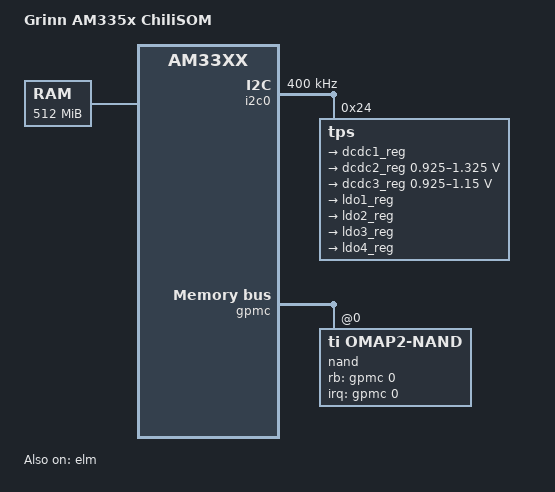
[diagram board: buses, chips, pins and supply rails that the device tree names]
// SPDX-License-Identifier: GPL-2.0-only
/*
 * Copyright (C) 2015 Jablotron s.r.o. -- https://www.jablotron.com/
 * Author: Rostislav Lisovy <lisovy@jablotron.cz>
 */
#include "am33xx.dtsi"
#include <dt-bindings/interrupt-controller/irq.h>

/ {
	model = "Grinn AM335x ChiliSOM";
	compatible = "grinn,am335x-chilisom", "ti,am33xx";

	cpus {
		cpu@0 {
			cpu0-supply = <&dcdc2_reg>;
		};
	};

	memory@80000000 {
		device_type = "memory";
		reg = <0x80000000 0x20000000>; /* 512 MB */
	};
};

&am33xx_pinmux {
	pinctrl-names = "default";

	i2c0_pins: pinmux_i2c0_pins {
		pinctrl-single,pins = <
			AM33XX_PADCONF(AM335X_PIN_I2C0_SDA, PIN_INPUT_PULLUP, MUX_MODE0)
			AM33XX_PADCONF(AM335X_PIN_I2C0_SCL, PIN_INPUT_PULLUP, MUX_MODE0)
		>;
	};

	nandflash_pins: nandflash_pins {
		pinctrl-single,pins = <
			AM33XX_PADCONF(AM335X_PIN_GPMC_AD0, PIN_INPUT_PULLDOWN, MUX_MODE0)
			AM33XX_PADCONF(AM335X_PIN_GPMC_AD1, PIN_INPUT_PULLDOWN, MUX_MODE0)
			AM33XX_PADCONF(AM335X_PIN_GPMC_AD2, PIN_INPUT_PULLDOWN, MUX_MODE0)
			AM33XX_PADCONF(AM335X_PIN_GPMC_AD3, PIN_INPUT_PULLDOWN, MUX_MODE0)
			AM33XX_PADCONF(AM335X_PIN_GPMC_AD4, PIN_INPUT_PULLDOWN, MUX_MODE0)
			AM33XX_PADCONF(AM335X_PIN_GPMC_AD5, PIN_INPUT_PULLDOWN, MUX_MODE0)
			AM33XX_PADCONF(AM335X_PIN_GPMC_AD6, PIN_INPUT_PULLDOWN, MUX_MODE0)
			AM33XX_PADCONF(AM335X_PIN_GPMC_AD7, PIN_INPUT_PULLDOWN, MUX_MODE0)

			AM33XX_PADCONF(AM335X_PIN_GPMC_WAIT0, PIN_INPUT_PULLUP, MUX_MODE0)
			AM33XX_PADCONF(AM335X_PIN_GPMC_CSN0, PIN_OUTPUT_PULLUP, MUX_MODE0)
			AM33XX_PADCONF(AM335X_PIN_GPMC_ADVN_ALE, PIN_OUTPUT_PULLUP, MUX_MODE0)
			AM33XX_PADCONF(AM335X_PIN_GPMC_OEN_REN, PIN_OUTPUT_PULLUP, MUX_MODE0)
			AM33XX_PADCONF(AM335X_PIN_GPMC_WEN, PIN_OUTPUT_PULLUP, MUX_MODE0)
			AM33XX_PADCONF(AM335X_PIN_GPMC_BEN0_CLE, PIN_OUTPUT_PULLUP, MUX_MODE0)
		>;
	};
};

&i2c0 {
	pinctrl-names = "default";
	pinctrl-0 = <&i2c0_pins>;

	status = "okay";
	clock-frequency = <400000>;

	tps: tps@24 {
		reg = <0x24>;
	};

};

/include/ "tps65217.dtsi"

&tps {
	regulators {
		dcdc1_reg: regulator@0 {
			regulator-name = "vdds_dpr";
			regulator-always-on;
		};

		dcdc2_reg: regulator@1 {
			/* VDD_MPU voltage limits 0.95V - 1.26V with +/-4% tolerance */
			regulator-name = "vdd_mpu";
			regulator-min-microvolt = <925000>;
			regulator-max-microvolt = <1325000>;
			regulator-boot-on;
			regulator-always-on;
		};

		dcdc3_reg: regulator@2 {
			/* VDD_CORE voltage limits 0.95V - 1.1V with +/-4% tolerance */
			regulator-name = "vdd_core";
			regulator-min-microvolt = <925000>;
			regulator-max-microvolt = <1150000>;
			regulator-boot-on;
			regulator-always-on;
		};

		ldo1_reg: regulator@3 {
			regulator-name = "vio,vrtc,vdds";
			regulator-boot-on;
			regulator-always-on;
		};

		ldo2_reg: regulator@4 {
			regulator-name = "vdd_3v3aux";
			regulator-boot-on;
			regulator-always-on;
		};

		ldo3_reg: regulator@5 {
			regulator-name = "vdd_1v8";
			regulator-boot-on;
			regulator-always-on;
		};

		ldo4_reg: regulator@6 {
			regulator-name = "vdd_3v3d";
			regulator-boot-on;
			regulator-always-on;
		};
	};
};

&rtc {
	system-power-controller;

	pinctrl-0 = <&ext_wakeup>;
	pinctrl-names = "default";

	ext_wakeup: ext-wakeup {
		pins = "ext_wakeup0";
		input-enable;
	};
};

/* NAND Flash */
&elm {
	status = "okay";
};

&gpmc {
	status = "okay";
	pinctrl-names = "default";
	pinctrl-0 = <&nandflash_pins>;
	ranges = <0 0 0x08000000 0x01000000>; /* CS0 0 @addr 0x08000000, size 0x01000000 */
	nand@0,0 {
		compatible = "ti,omap2-nand";
		reg = <0 0 4>;	/* CS0, offset 0, IO size 4 */
		interrupt-parent = <&gpmc>;
		interrupts = <0 IRQ_TYPE_NONE>, /* fifoevent */
			     <1 IRQ_TYPE_NONE>;	/* termcount */
		rb-gpios = <&gpmc 0 GPIO_ACTIVE_HIGH>; /* gpmc_wait0 */
		ti,nand-ecc-opt = "bch8";
		ti,elm-id = <&elm>;
		nand-bus-width = <8>;
		gpmc,device-width = <1>;
		gpmc,sync-clk-ps = <0>;
		gpmc,cs-on-ns = <0>;
		gpmc,cs-rd-off-ns = <44>;
		gpmc,cs-wr-off-ns = <44>;
		gpmc,adv-on-ns = <6>;
		gpmc,adv-rd-off-ns = <34>;
		gpmc,adv-wr-off-ns = <44>;
		gpmc,we-on-ns = <0>;
		gpmc,we-off-ns = <40>;
		gpmc,oe-on-ns = <0>;
		gpmc,oe-off-ns = <54>;
		gpmc,access-ns = <64>;
		gpmc,rd-cycle-ns = <82>;
		gpmc,wr-cycle-ns = <82>;
		gpmc,bus-turnaround-ns = <0>;
		gpmc,cycle2cycle-delay-ns = <0>;
		gpmc,clk-activation-ns = <0>;
		gpmc,wr-access-ns = <40>;
		gpmc,wr-data-mux-bus-ns = <0>;
	};
};
